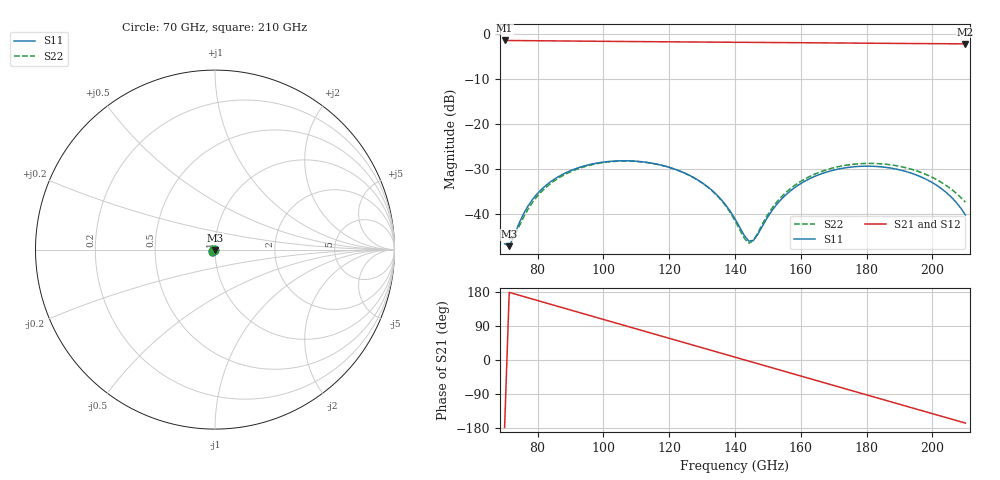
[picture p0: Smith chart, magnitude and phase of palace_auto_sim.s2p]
#  GHZ S DB R 50
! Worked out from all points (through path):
!   101 points, 70 GHz to 210 GHz, reference 50 ohm
!   highest |S21| = -1.34 dB at 70 GHz (marker M1); lowest = -2.1 dB at 210 GHz (marker M2)
!   group delay of S21, straight-line fit = 6.91 ps
!   lowest |S11| = -47.2 dB at 71.4 GHz (marker M3), VSWR 1.01, Z = 49.9 - j0.422 ohm
!   |S11| at or under -10 dB: start of sweep to end of sweep
!   |S22| runs from -46.5 to -28.2 dB; largest |S21 - S12| = 1.4e-13
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70  -46.67 -135.4  -1.34 -178.1  -1.34 -178.1  -44.13 -146.3
71.4  -47.21 -104.2  -1.35 178.4  -1.35 178.4  -45.65 -124.2
72.8  -45.07 -80.1  -1.36 174.9  -1.36 174.9  -45.11 -99.1
75.6  -40.21 -64.1  -1.37 168.0  -1.37 168.0  -40.99 -73.7
79.8  -35.62 -64.8  -1.40 157.5  -1.40 157.5  -36.18 -69.5
85.4  -32.13 -75.3  -1.44 143.5  -1.44 143.5  -32.48 -77.9
93.8  -29.40 -95.2  -1.49 122.5  -1.49 122.5  -29.59 -96.7
105  -28.18 -123.2  -1.56 94.6  -1.56 94.6  -28.25 -123.9
117.6  -29.14 -154.1  -1.63 63.2  -1.63 63.2  -29.16 -154.3
131.6  -33.92 176.0  -1.70 28.4  -1.70 28.4  -33.97 176.2
135.8  -36.80 170.9  -1.72 18.0  -1.72 18.0  -36.95 171.3
140  -41.12 174.2  -1.74 7.5  -1.74 7.5  -41.50 175.3
144.2  -46.07 -150.4  -1.76 -3.0  -1.76 -3.0  -46.54 -143.7
145.6  -45.92 -129.4  -1.77 -6.4  -1.77 -6.4  -45.95 -121.3
149.8  -40.88 -97.5  -1.79 -16.9  -1.79 -16.9  -40.36 -92.5
154  -36.80 -95.2  -1.81 -27.4  -1.81 -27.4  -36.29 -91.5
163.8  -31.78 -111.1  -1.86 -51.8  -1.86 -51.8  -31.28 -107.7
176.4  -29.49 -139.6  -1.93 -83.1  -1.93 -83.1  -28.91 -135.4
187.6  -29.83 -166.3  -1.99 -110.9  -1.99 -110.9  -29.10 -160.7
200.2  -33.15 164.8  -2.05 -142.2  -2.05 -142.2  -31.96 173.8
205.8  -36.33 153.8  -2.08 -156.1  -2.08 -156.1  -34.55 166.0
210  -40.24 148.8  -2.09 -166.5  -2.09 -166.5  -37.39 164.7
